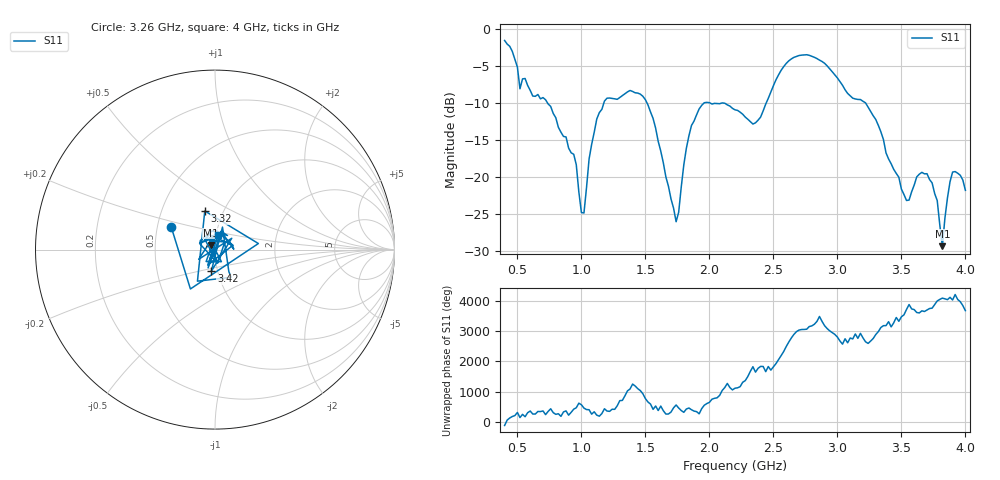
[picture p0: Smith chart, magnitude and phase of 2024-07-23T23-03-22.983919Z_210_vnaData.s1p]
!Created with skrf (http://scikit-rf.org).
# Hz S RI R 50.0
!freq ReS11 ImS11
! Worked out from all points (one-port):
!   181 points, 400 MHz to 4 GHz, reference 50 ohm
!   lowest |S11| = -29.3 dB at 3.82 GHz (marker M1), VSWR 1.07, Z = 47.8 + j2.49 ohm
!   |S11| at or under -10 dB: 734.7 MHz to 1.176 GHz (441.1 MHz wide, 46.2 % of centre); 1.512 GHz to 1.959 GHz (447 MHz wide, 25.8 % of centre); 3.22 GHz to end of sweep (the widest 3 of 4)
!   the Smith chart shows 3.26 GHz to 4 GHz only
!   S11 on the Smith chart (normalised r, x): 3.26 GHz: 0.59, +0.16; 3.32 GHz: 0.82, +0.37; 3.42 GHz: 0.93, -0.23; 4 GHz: 1.02, +0.16
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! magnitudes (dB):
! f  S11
! 400 MHz  -1.6
! 520 MHz  -8.1
! 720 MHz  -9.6
! 860 MHz  -14.5
! 940 MHz  -16.9
! 1.02 GHz  -24.9
! 1.06 GHz  -17.6
! 1.12 GHz  -12.2
! 1.3 GHz  -9.3
! 1.5 GHz  -9.6
! 1.74 GHz  -26.0
! 1.76 GHz  -24.7
! 1.82 GHz  -16.1
! 1.92 GHz  -10.8
! 2.2 GHz  -10.9
! 2.36 GHz  -12.7
! 2.66 GHz  -3.9
! 2.88 GHz  -4.4
! 3.1 GHz  -9.1
! 3.26 GHz  -11.2
! 3.32 GHz  -13.0
! 3.42 GHz  -18.2
! 3.56 GHz  -23.1
! 3.7 GHz  -19.6
! 3.78 GHz  -23.2
! 3.82 GHz  -29.3
! 3.9 GHz  -19.3
! 4 GHz  -21.8
